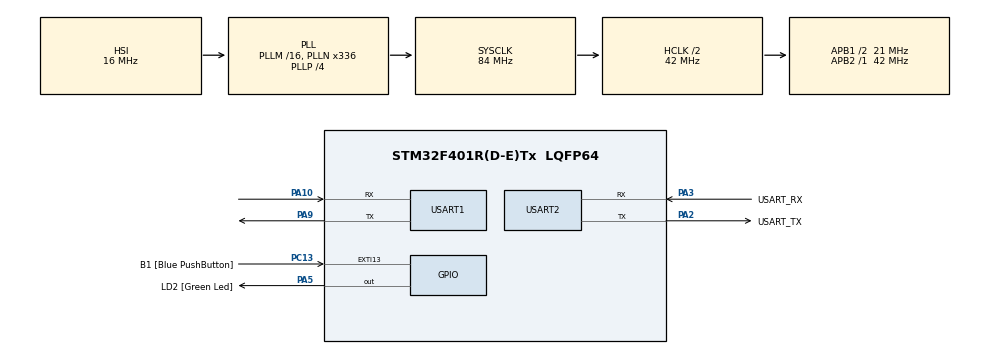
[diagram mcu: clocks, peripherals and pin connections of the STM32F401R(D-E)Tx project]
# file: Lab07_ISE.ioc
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Mcu.Family=STM32F4
Mcu.Name=STM32F401R(D-E)Tx
Mcu.Package=LQFP64
NVIC.EXTI15_10_IRQn=true\:0\:0\:false\:false\:true\:true
NVIC.PriorityGroup=NVIC_PRIORITYGROUP_0
NVIC.TIM1_CC_IRQn=true\:0\:0\:false\:false\:true\:true
NVIC.USART1_IRQn=true\:0\:0\:false\:false\:true\:true
NVIC.USART2_IRQn=true\:0\:0\:false\:false\:true\:true
PA10.Mode=Asynchronous
PA10.Signal=USART1_RX
PA13.GPIO_Label=TMS
PA13.Mode=Serial_Wire
PA13.Signal=SYS_JTMS-SWDIO
PA14.GPIO_Label=TCK
PA14.Mode=Serial_Wire
PA14.Signal=SYS_JTCK-SWCLK
PA2.GPIO_Label=USART_TX
PA2.GPIO_Mode=GPIO_MODE_AF_PP
PA2.GPIO_PuPd=GPIO_NOPULL
PA2.GPIO_Speed=GPIO_SPEED_FREQ_LOW
PA2.Mode=Asynchronous
PA2.Signal=USART2_TX
PA3.GPIO_Label=USART_RX
PA3.GPIO_Mode=GPIO_MODE_AF_PP
PA3.GPIO_PuPd=GPIO_NOPULL
PA3.GPIO_Speed=GPIO_SPEED_FREQ_LOW
PA3.Mode=Asynchronous
PA3.Signal=USART2_RX
PA5.GPIO_Label=LD2 [Green Led]
PA5.GPIO_Mode=GPIO_MODE_OUTPUT_PP
PA5.GPIO_PuPd=GPIO_NOPULL
PA5.GPIO_Speed=GPIO_SPEED_FREQ_LOW
PA5.Signal=GPIO_Output
PA9.Mode=Asynchronous
PA9.Signal=USART1_TX
PB3.GPIO_Label=SWO
PB3.Signal=SYS_JTDO-SWO
PC13-ANTI_TAMP.GPIO_Label=B1 [Blue PushButton]
PC13-ANTI_TAMP.GPIO_ModeDefaultEXTI=GPIO_MODE_IT_FALLING
PC13-ANTI_TAMP.GPIO_PuPd=GPIO_NOPULL
PC13-ANTI_TAMP.Signal=GPXTI13
PC14-OSC32_IN.Mode=LSE-External-Oscillator
PC14-OSC32_IN.Signal=RCC_OSC32_IN
PC15-OSC32_OUT.Mode=LSE-External-Oscillator
PC15-OSC32_OUT.Signal=RCC_OSC32_OUT
PH0\ -\ OSC_IN.Mode=HSE-External-Clock-Source
PH0\ -\ OSC_IN.Signal=RCC_OSC_IN
PH1\ -\ OSC_OUT.Mode=HSE-External-Clock-Source
PH1\ -\ OSC_OUT.Signal=RCC_OSC_OUT
ProjectManager.HeapSize=0x200
ProjectManager.StackSize=0x400
ProjectManager.TargetToolchain=SW4STM32
RCC.48MHZClocksFreq_Value=48000000
RCC.AHBCLKDivider=RCC_SYSCLK_DIV2
RCC.AHBFreq_Value=42000000
RCC.APB1CLKDivider=RCC_HCLK_DIV2
RCC.APB1Freq_Value=21000000
RCC.APB1TimFreq_Value=42000000
RCC.APB2Freq_Value=42000000
RCC.APB2TimFreq_Value=42000000
RCC.CortexFreq_Value=42000000
RCC.HCLKFreq_Value=42000000
RCC.HSE_VALUE=8000000
RCC.HSI_VALUE=16000000
RCC.PLLN=336
RCC.PLLP=RCC_PLLP_DIV4
RCC.PLLQ=7
RCC.SYSCLKFreq_VALUE=84000000
RCC.SYSCLKSource=RCC_SYSCLKSOURCE_PLLCLK
RCC.VCOOutputFreq_Value=336000000
TIM1.Channel-Output\ Compare1\ No\ Output=TIM_CHANNEL_1
TIM1.Period=2000
TIM1.Prescaler=41999
USART1.VirtualMode=VM_ASYNC
USART2.VirtualMode=VM_ASYNC
VP_TIM1_VS_no_output1.Mode=Output Compare1 No Output
board=NUCLEO-F401RE

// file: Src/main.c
/* USER CODE BEGIN Header */
/**
  ******************************************************************************
  * @file           : main.c
  * @brief          : Main program body
  ******************************************************************************
  ** This notice applies to any and all portions of this file
  * that are not between comment pairs USER CODE BEGIN and
  * USER CODE END. Other portions of this file, whether
  * inserted by the user or by software development tools
  * are owned by their respective copyright owners.
  *
  * COPYRIGHT(c) 2019 STMicroelectronics
  *
  * Redistribution and use in source and binary forms, with or without modification,
  * are permitted provided that the following conditions are met:
  *   1. Redistributions of source code must retain the above copyright notice,
  *      this list of conditions and the following disclaimer.
  *   2. Redistributions in binary form must reproduce the above copyright notice,
  *      this list of conditions and the following disclaimer in the documentation
  *      and/or other materials provided with the distribution.
  *   3. Neither the name of STMicroelectronics nor the names of its contributors
  *      may be used to endorse or promote products derived from this software
  *      without specific prior written permission.
  *
  * THIS SOFTWARE IS PROVIDED BY THE COPYRIGHT HOLDERS AND CONTRIBUTORS "AS IS"
  * AND ANY EXPRESS OR IMPLIED WARRANTIES, INCLUDING, BUT NOT LIMITED TO, THE
  * IMPLIED WARRANTIES OF MERCHANTABILITY AND FITNESS FOR A PARTICULAR PURPOSE ARE
  * DISCLAIMED. IN NO EVENT SHALL THE COPYRIGHT HOLDER OR CONTRIBUTORS BE LIABLE
  * FOR ANY DIRECT, INDIRECT, INCIDENTAL, SPECIAL, EXEMPLARY, OR CONSEQUENTIAL
  * DAMAGES (INCLUDING, BUT NOT LIMITED TO, PROCUREMENT OF SUBSTITUTE GOODS OR
  * SERVICES; LOSS OF USE, DATA, OR PROFITS; OR BUSINESS INTERRUPTION) HOWEVER
  * CAUSED AND ON ANY THEORY OF LIABILITY, WHETHER IN CONTRACT, STRICT LIABILITY,
  * OR TORT (INCLUDING NEGLIGENCE OR OTHERWISE) ARISING IN ANY WAY OUT OF THE USE
  * OF THIS SOFTWARE, EVEN IF ADVISED OF THE POSSIBILITY OF SUCH DAMAGE.
  *
  ******************************************************************************
  */
/* USER CODE END Header */

#include "main.h"

/* USER CODE BEGIN PTD */
typedef enum state {READY,WAITING,SENDING,EN_UART_INT} state;
/* USER CODE END PTD */

/* USER CODE BEGIN PD */
#define size_rx_buf 3
#define size_tx_buf 5
/* USER CODE END PD */

TIM_HandleTypeDef htim1;

UART_HandleTypeDef huart1;
UART_HandleTypeDef huart2;

/* USER CODE BEGIN PV */
uint8_t uart_rx_buf[size_rx_buf];
uint8_t uart_tx_buf[size_tx_buf];
volatile state status;
volatile int raw_data;
/* USER CODE END PV */

void SystemClock_Config(void);
static void MX_GPIO_Init(void);
static void MX_USART2_UART_Init(void);
static void MX_TIM1_Init(void);
static void MX_USART1_UART_Init(void);

int main(void)
{

  /* MCU Configuration--------------------------------------------------------*/

  /* Reset of all peripherals, Initializes the Flash interface and the Systick. */
  HAL_Init();

  /* Configure the system clock */
  SystemClock_Config();

  /* Initialize all configured peripherals */
  MX_GPIO_Init();
  MX_USART2_UART_Init();
  MX_TIM1_Init();
  MX_USART1_UART_Init();
  /* USER CODE BEGIN 2 */

  HAL_TIM_OC_Start_IT(&htim1,TIM_CHANNEL_1);
  HAL_UART_Receive_IT(&huart1,uart_rx_buf,size_rx_buf);
  status = WAITING;

  /* USER CODE END 2 */

  /* Infinite loop */
  while (1)
  {

    /* USER CODE BEGIN 3 */
	  switch(status) {

	  case SENDING: // Send in polling mode, re-enable Timer Output Compare interrupt
		  HAL_UART_Transmit(&huart1,uart_tx_buf,size_tx_buf,3000);
		  HAL_TIM_OC_Start_IT(&htim1,TIM_CHANNEL_1);
		  status = WAITING;
		  break;

	  case EN_UART_INT:
		  HAL_UART_Receive_IT(&huart1,uart_rx_buf,size_rx_buf);
		  status = READY;
		  break;

	  default:
		  break;

	  }

  }
  /* USER CODE END 3 */
}

void SystemClock_Config(void)
{
  RCC_OscInitTypeDef RCC_OscInitStruct = {0};
  RCC_ClkInitTypeDef RCC_ClkInitStruct = {0};

  /**Configure the main internal regulator output voltage
  */
  __HAL_RCC_PWR_CLK_ENABLE();
  __HAL_PWR_VOLTAGESCALING_CONFIG(PWR_REGULATOR_VOLTAGE_SCALE2);
  /**Initializes the CPU, AHB and APB busses clocks
  */
  RCC_OscInitStruct.OscillatorType = RCC_OSCILLATORTYPE_HSI;
  RCC_OscInitStruct.HSIState = RCC_HSI_ON;
  RCC_OscInitStruct.HSICalibrationValue = RCC_HSICALIBRATION_DEFAULT;
  RCC_OscInitStruct.PLL.PLLState = RCC_PLL_ON;
  RCC_OscInitStruct.PLL.PLLSource = RCC_PLLSOURCE_HSI;
  RCC_OscInitStruct.PLL.PLLM = 16;
  RCC_OscInitStruct.PLL.PLLN = 336;
  RCC_OscInitStruct.PLL.PLLP = RCC_PLLP_DIV4;
  RCC_OscInitStruct.PLL.PLLQ = 7;
  if (HAL_RCC_OscConfig(&RCC_OscInitStruct) != HAL_OK)
  {
    Error_Handler();
  }
  /**Initializes the CPU, AHB and APB busses clocks
  */
  RCC_ClkInitStruct.ClockType = RCC_CLOCKTYPE_HCLK|RCC_CLOCKTYPE_SYSCLK
                              |RCC_CLOCKTYPE_PCLK1|RCC_CLOCKTYPE_PCLK2;
  RCC_ClkInitStruct.SYSCLKSource = RCC_SYSCLKSOURCE_PLLCLK;
  RCC_ClkInitStruct.AHBCLKDivider = RCC_SYSCLK_DIV2;
  RCC_ClkInitStruct.APB1CLKDivider = RCC_HCLK_DIV2;
  RCC_ClkInitStruct.APB2CLKDivider = RCC_HCLK_DIV1;

  if (HAL_RCC_ClockConfig(&RCC_ClkInitStruct, FLASH_LATENCY_1) != HAL_OK)
  {
    Error_Handler();
  }
}

static void MX_TIM1_Init(void)
{

  TIM_MasterConfigTypeDef sMasterConfig = {0};
  TIM_OC_InitTypeDef sConfigOC = {0};
  TIM_BreakDeadTimeConfigTypeDef sBreakDeadTimeConfig = {0};

  htim1.Instance = TIM1;
  htim1.Init.Prescaler = 41999;
  htim1.Init.CounterMode = TIM_COUNTERMODE_UP;
  htim1.Init.Period = 2000;
  htim1.Init.ClockDivision = TIM_CLOCKDIVISION_DIV1;
  htim1.Init.RepetitionCounter = 0;
  if (HAL_TIM_OC_Init(&htim1) != HAL_OK)
  {
    Error_Handler();
  }
  sMasterConfig.MasterOutputTrigger = TIM_TRGO_RESET;
  sMasterConfig.MasterSlaveMode = TIM_MASTERSLAVEMODE_DISABLE;
  if (HAL_TIMEx_MasterConfigSynchronization(&htim1, &sMasterConfig) != HAL_OK)
  {
    Error_Handler();
  }
  sConfigOC.OCMode = TIM_OCMODE_TIMING;
  sConfigOC.Pulse = 0;
  sConfigOC.OCPolarity = TIM_OCPOLARITY_HIGH;
  sConfigOC.OCNPolarity = TIM_OCNPOLARITY_HIGH;
  sConfigOC.OCFastMode = TIM_OCFAST_DISABLE;
  sConfigOC.OCIdleState = TIM_OCIDLESTATE_RESET;
  sConfigOC.OCNIdleState = TIM_OCNIDLESTATE_RESET;
  if (HAL_TIM_OC_ConfigChannel(&htim1, &sConfigOC, TIM_CHANNEL_1) != HAL_OK)
  {
    Error_Handler();
  }
  sBreakDeadTimeConfig.OffStateRunMode = TIM_OSSR_DISABLE;
  sBreakDeadTimeConfig.OffStateIDLEMode = TIM_OSSI_DISABLE;
  sBreakDeadTimeConfig.LockLevel = TIM_LOCKLEVEL_OFF;
  sBreakDeadTimeConfig.DeadTime = 0;
  sBreakDeadTimeConfig.BreakState = TIM_BREAK_DISABLE;
  sBreakDeadTimeConfig.BreakPolarity = TIM_BREAKPOLARITY_HIGH;
  sBreakDeadTimeConfig.AutomaticOutput = TIM_AUTOMATICOUTPUT_DISABLE;
  if (HAL_TIMEx_ConfigBreakDeadTime(&htim1, &sBreakDeadTimeConfig) != HAL_OK)
  {
    Error_Handler();
  }

}

static void MX_USART1_UART_Init(void)
{

  huart1.Instance = USART1;
  huart1.Init.BaudRate = 115200;
  huart1.Init.WordLength = UART_WORDLENGTH_8B;
  huart1.Init.StopBits = UART_STOPBITS_1;
  huart1.Init.Parity = UART_PARITY_NONE;
  huart1.Init.Mode = UART_MODE_TX_RX;
  huart1.Init.HwFlowCtl = UART_HWCONTROL_NONE;
  huart1.Init.OverSampling = UART_OVERSAMPLING_16;
  if (HAL_UART_Init(&huart1) != HAL_OK)
  {
    Error_Handler();
  }

}

static void MX_USART2_UART_Init(void)
{

  huart2.Instance = USART2;
  huart2.Init.BaudRate = 115200;
  huart2.Init.WordLength = UART_WORDLENGTH_8B;
  huart2.Init.StopBits = UART_STOPBITS_1;
  huart2.Init.Parity = UART_PARITY_NONE;
  huart2.Init.Mode = UART_MODE_TX_RX;
  huart2.Init.HwFlowCtl = UART_HWCONTROL_NONE;
  huart2.Init.OverSampling = UART_OVERSAMPLING_16;
  if (HAL_UART_Init(&huart2) != HAL_OK)
  {
    Error_Handler();
  }

}

static void MX_GPIO_Init(void)
{
  GPIO_InitTypeDef GPIO_InitStruct = {0};

  /* GPIO Ports Clock Enable */
  __HAL_RCC_GPIOC_CLK_ENABLE();
  __HAL_RCC_GPIOH_CLK_ENABLE();
  __HAL_RCC_GPIOA_CLK_ENABLE();
  __HAL_RCC_GPIOB_CLK_ENABLE();

  /*Configure GPIO pin Output Level */
  HAL_GPIO_WritePin(LD2_GPIO_Port, LD2_Pin, GPIO_PIN_RESET);

  /*Configure GPIO pin : B1_Pin */
  GPIO_InitStruct.Pin = B1_Pin;
  GPIO_InitStruct.Mode = GPIO_MODE_IT_FALLING;
  GPIO_InitStruct.Pull = GPIO_NOPULL;
  HAL_GPIO_Init(B1_GPIO_Port, &GPIO_InitStruct);

  /*Configure GPIO pin : LD2_Pin */
  GPIO_InitStruct.Pin = LD2_Pin;
  GPIO_InitStruct.Mode = GPIO_MODE_OUTPUT_PP;
  GPIO_InitStruct.Pull = GPIO_NOPULL;
  GPIO_InitStruct.Speed = GPIO_SPEED_FREQ_LOW;
  HAL_GPIO_Init(LD2_GPIO_Port, &GPIO_InitStruct);

  /* EXTI interrupt init*/
  HAL_NVIC_SetPriority(EXTI15_10_IRQn, 0, 0);
  HAL_NVIC_EnableIRQ(EXTI15_10_IRQn);

}

void Error_Handler(void)
{
}

/************************ (C) COPYRIGHT STMicroelectronics *****END OF FILE****/
